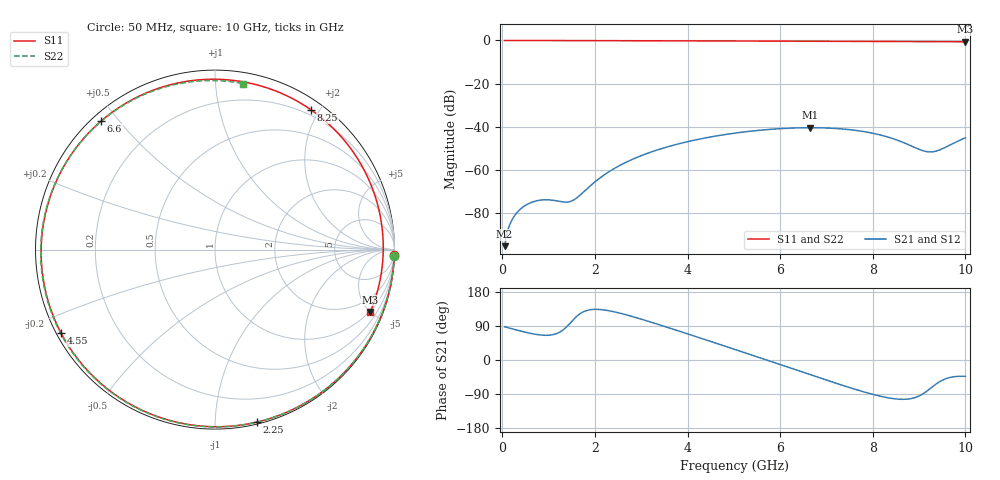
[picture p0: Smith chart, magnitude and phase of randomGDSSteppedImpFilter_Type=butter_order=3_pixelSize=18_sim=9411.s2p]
! freq	dB(S11)	phase(S11)	dB(S12)	phase(S12)
!  dB(S21)	phase(S21)	dB(S22)	phase(S22)
!S-par simulation data
#  GHz  S  DB  R 50
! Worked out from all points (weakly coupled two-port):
!   200 points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, 50 MHz to 10 GHz, reference 50 ohm
!   highest |S21| = -40.42 dB at 6.65 GHz (marker M1); lowest = -95.3 dB at 50 MHz (marker M2)
!   lowest |S11| = -0.6 dB at 10 GHz (marker M3), VSWR 28.47, Z = 47.3 - j250 ohm
!   |S11| at or under -10 dB: nowhere
!   |S22| runs from -0.5 to 0.0 dB; largest |S21 - S12| = 0
!   S11 on the Smith chart (normalised r, x): 50 MHz: 1, -65; 2.25 GHz: 0.01, -1.27; 4.55 GHz: 0.01, -0.25; 6.6 GHz: 0.03, +0.45; 8.25 GHz: 0.13, +1.89; 10 GHz: 0.95, -5.01
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0.05  -0.00 -1.8  -95.30 87.8  -95.30 87.8  -0.01 -1.9
0.3  -0.01 -10.5  -80.19 79.4  -80.19 79.4  -0.01 -11.5
0.55  -0.02 -19.1  -75.80 71.8  -75.80 71.8  -0.02 -21.0
0.8  -0.03 -27.7  -74.03 66.3  -74.03 66.3  -0.04 -30.3
1.45  -0.06 -49.8  -74.75 95.4  -74.75 95.4  -0.07 -53.8
1.75  -0.08 -59.9  -70.29 127.1  -70.29 127.1  -0.08 -64.1
2.25  -0.10 -76.4  -61.56 131.1  -61.56 131.1  -0.10 -80.6
2.75  -0.12 -92.7  -55.65 116.8  -55.65 116.8  -0.11 -96.1
3.4  -0.15 -113.8  -50.36 92.7  -50.36 92.7  -0.13 -114.9
4.55  -0.22 -151.6  -44.50 47.0  -44.50 47.0  -0.18 -145.1
5.05  -0.25 -168.8  -42.84 26.8  -42.84 26.8  -0.20 -157.4
5.85  -0.32 161.9  -41.07 -5.9  -41.07 -5.9  -0.25 -176.5
6.6  -0.38 131.5  -40.42 -36.7  -40.42 -36.7  -0.29 165.9
6.65  -0.39 129.4  -40.42 -38.7  -40.42 -38.7  -0.30 164.7
6.7  -0.39 127.2  -40.42 -40.8  -40.42 -40.8  -0.30 163.5
7.5  -0.45 91.2  -41.32 -72.8  -41.32 -72.8  -0.36 144.5
7.85  -0.47 74.7  -42.37 -85.7  -42.37 -85.7  -0.38 136.0
8.25  -0.49 55.5  -44.27 -97.9  -44.27 -97.9  -0.41 126.2
8.35  -0.50 50.8  -44.89 -100.2  -44.89 -100.2  -0.42 123.7
8.8  -0.52 29.6  -48.56 -102.4  -48.56 -102.4  -0.45 112.2
9.25  -0.55 9.2  -51.65 -74.4  -51.65 -74.4  -0.49 100.5
10  -0.61 -21.9  -45.07 -43.2  -45.07 -43.2  -0.55 80.3
